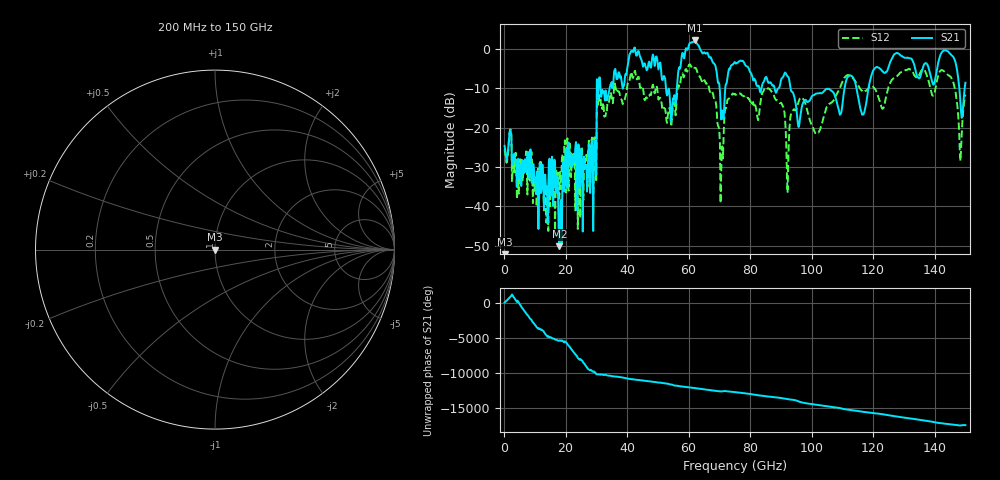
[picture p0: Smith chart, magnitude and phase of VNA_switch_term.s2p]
!  2-Port S-parameters saved by WinCal
! VAR NAME=Switch Gamma term ports: 1, 2 (Switching Terms)
! VAR MeasName=S-Parameters (SWITCH_GAMMA) read from VNA (MS4647B)
! VAR MeasDate=09-Dec-21 16:34:30
! VAR CAL_PORTS=1,2
! VAR PHYS_PORTS=1,2
! VAR ObjTypeName=DATASET
! VAR IndexType=Frequency
! VAR FILENAME=switch_term.S2P
# Hz S RI R 50
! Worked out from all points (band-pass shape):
!   750 points, 200 MHz to 150 GHz, reference 50 ohm
!   highest |S21| = 2.15 dB at 62 GHz (marker M1); lowest = -50.1 dB at 18 GHz (marker M2)
!   |S21| within 3 dB of the highest: 58.9 GHz to 64.34 GHz (5.436 GHz wide, 8.82 % of centre); 142.4 GHz to 144.6 GHz (2.254 GHz wide, 1.57 % of centre) (the widest 2 of 4)
!   lowest |S11| = - dB at 200 MHz (marker M3), VSWR 1.00, Z = 50 + j0 ohm
!   |S11| at or under -10 dB: start of sweep to end of sweep
!   |S22| runs from - to - dB; largest |S21 - S12| = 1.4
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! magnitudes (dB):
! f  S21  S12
! 200 MHz  -24.6  -25.5
! 16 GHz  -39.9  -28.8
! 18 GHz  -50.1  -38.1
! 20.6 GHz  -35.3  -22.7
! 25.2 GHz  -25.4  -24.8
! 29.4 GHz  -23.5  -22.5
! 30.8 GHz  -7.7  -13.3
! 50.2 GHz  -5.2  -12.9
! 54.6 GHz  -16.5  -17.7
! 62 GHz  2.2  -4.8
! 68.4 GHz  -3.9  -12.9
! 70.8 GHz  -17.3  -24.9
! 75.2 GHz  -3.5  -11.7
! 86.6 GHz  -8.5  -10.4
! 92.2 GHz  -7.0  -36.6
! 96.4 GHz  -16.8  -12.4
! 100.2 GHz  -11.9  -19.6
! 116.6 GHz  -16.7  -10.8
! 125.2 GHz  -4.1  -9.2
! 143.2 GHz  -0.3  -5.8
! 148.4 GHz  -13.7  -28.5
! 150 GHz  -8.6  -11.6
